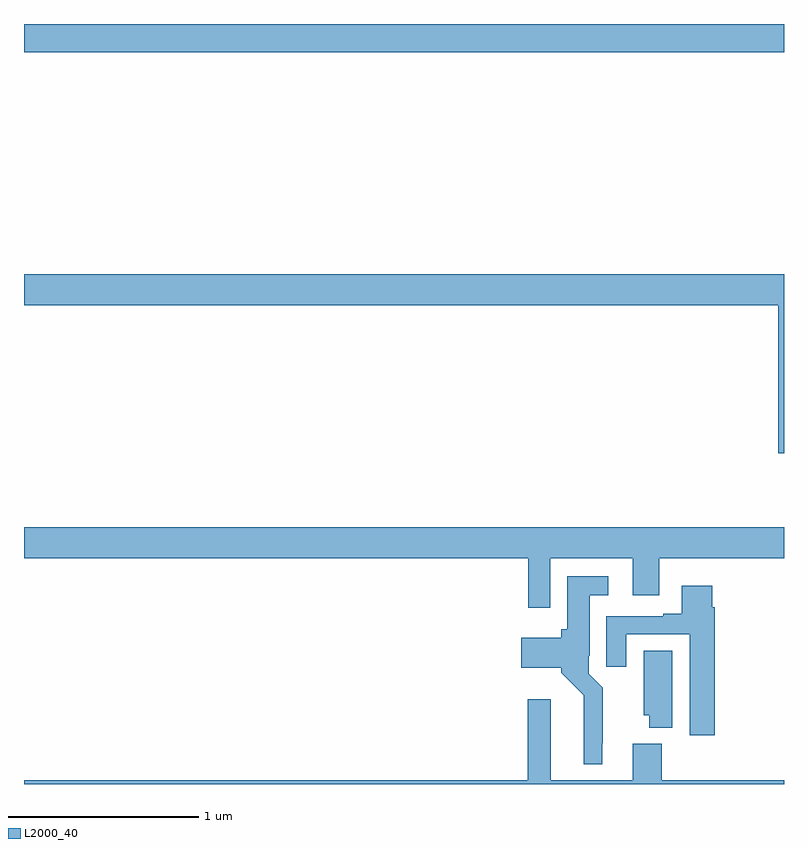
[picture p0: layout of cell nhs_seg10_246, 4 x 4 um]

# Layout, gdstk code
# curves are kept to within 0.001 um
import gdstk
lib = gdstk.Library(unit=1e-6, precision=1e-09)
def R(c, l, rs):  # rectangles x0, y0, x1, y1
    for r in rs: c.add(gdstk.rectangle(r[:2], r[2:], *l))
def P(c, l, *ps):  # polygons
    for p in ps: c.add(gdstk.Polygon(p, *l))
L2000_40 = (2000, 40)

nhs_seg10_246 = lib.new_cell('nhs_seg10_246')
R(nhs_seg10_246, L2000_40, [(123,1264.352,127,1264.5)])
P(nhs_seg10_246, L2000_40, [(127,1263.184),(123,1263.184),(123,1263.02),(126.971,1263.02),(126.971,1262.241),(127,1262.241)],
  [(125.769,1261.688),(126.203,1261.688),(126.203,1261.494),(126.343,1261.494),(126.343,1261.688),(127,1261.688),(127,1261.852),(123,1261.852),(123,1261.688),(125.653,1261.688),(125.653,1261.428),(125.769,1261.428)],
  [(126.043,1260.715),(126.047,1260.715),(126.047,1261.006),(125.973,1261.08),(125.973,1261.174),(125.977,1261.174),(125.977,1261.493),(126.076,1261.493),(126.076,1261.594),(125.858,1261.594),(125.858,1261.314),(125.828,1261.314),(125.828,1261.27),(125.616,1261.27),(125.616,1261.112),(125.828,1261.112),(125.828,1261.086),(125.946,1260.968),(125.945,1260.605),(126.043,1260.605)],
  [(126.635,1261.43),(126.622,1261.43),(126.622,1261.543),(126.461,1261.543),(126.461,1261.396),(126.365,1261.396),(126.365,1261.383),(126.065,1261.383),(126.065,1261.116),(126.169,1261.116),(126.169,1261.287),(126.503,1261.287),(126.503,1260.756),(126.635,1260.756)],
  [(126.412,1261.202),(126.263,1261.202),(126.263,1260.861),(126.29,1260.861),(126.29,1260.797),(126.412,1260.797)],
  [(127,1260.52),(126.356,1260.52),(126.356,1260.712),(126.203,1260.712),(126.203,1260.52),(125.773,1260.52),(125.773,1260.946),(125.651,1260.946),(125.651,1260.52),(123,1260.52),(123,1260.5),(127,1260.5)])

lib.write_gds('nhs_seg10_246.gds')
